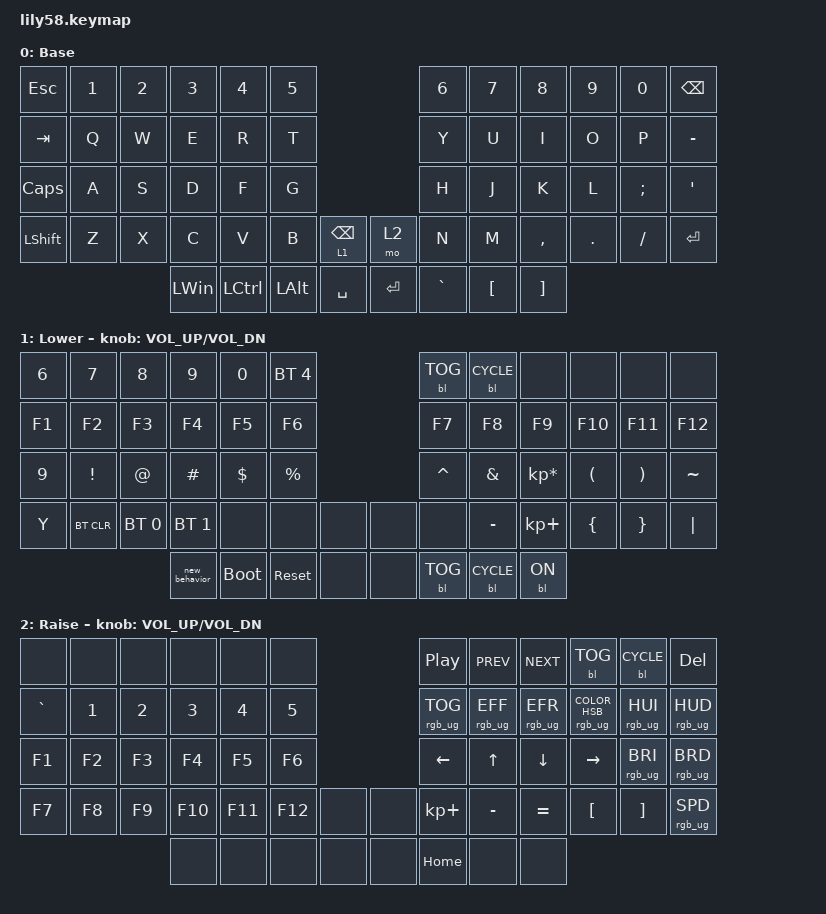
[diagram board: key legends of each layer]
/*
 * Copyright (c) 2020 The ZMK Contributors
 *
 * SPDX-License-Identifier: MIT
 */

#include <behaviors.dtsi>
#include <dt-bindings/zmk/backlight.h>
#include <dt-bindings/zmk/bt.h>
#include <dt-bindings/zmk/keys.h>
#include <dt-bindings/zmk/rgb.h>

/ {
    behaviors {
        new_behavior: new_behavior {
            compatible = "zmk,behavior-soft-off";
            label = "NEW_BEHAVIOR";
            #binding-cells = <0>;
            split-peripheral-off-on-press;
        };
    };

    keymap {
        compatible = "zmk,keymap";

        default_layer {
            // ------------------------------------------------------------------------------------------------------------
            // |  ESC  |  1  |  2  |  3   |  4   |  5   |                   |  6   |  7    |  8    |  9   |   0   |   `   |
            // |  TAB  |  Q  |  W  |  E   |  R   |  T   |                   |  Y   |  U    |  I    |  O   |   P   |   -   |
            // |  CTRL |  A  |  S  |  D   |  F   |  G   |                   |  H   |  J    |  K    |  L   |   ;   |   '   |
            // | SHIFT |  Z  |  X  |  C   |  V   |  B   |   "["  |  |  "]"  |  N   |  M    |  ,    |  .   |   /   | SHIFT |
            //                     | ALT  | GUI  | LOWER|  SPACE |  | ENTER | RAISE| BSPC  | GUI   |

            display-name = "Base";
            bindings = <
&kp ESC         &kp N1  &kp N2  &kp N3        &kp N4     &kp N5                                      &kp N6     &kp N7            &kp N8             &kp N9   &kp N0    &kp BACKSPACE
&kp TAB         &kp Q   &kp W   &kp E         &kp R      &kp T                                       &kp Y      &kp U             &kp I              &kp O    &kp P     &kp MINUS
&kp CLCK        &kp A   &kp S   &kp D         &kp F      &kp G                                       &kp H      &kp J             &kp K              &kp L    &kp SEMI  &kp APOS
&kp LEFT_SHIFT  &kp Z   &kp X   &kp C         &kp V      &kp B         &lt 1 BACKSPACE    &mo 2      &kp N      &kp M             &kp COMMA          &kp DOT  &kp FSLH  &kp ENTER
                                &kp LEFT_WIN  &kp LCTRL  &kp LEFT_ALT  &kp SPACE          &kp ENTER  &kp GRAVE  &kp LEFT_BRACKET  &kp RIGHT_BRACKET
            >;
        };

        lower_layer {
            // ------------------------------------------------------------------------------------------------------------
            // | BTCLR | BT1 | BT2 |  BT3 |  BT4 |  BT5 |                   |      |       |       |      |       |       |
            // |  F1   |  F2 |  F3 |  F4  |  F5  |  F6  |                   |  F7  |  F8   |  F9   |  F10 |  F11  |  F12  |
            // |   `   |  !  |  @  |  #   |  $   |  %   |                   |  ^   |  &    |  *    |  (   |   )   |   ~   |
            // |       |     |     |      |      |      |        |  |       |      |  _    |  +    |  {   |   }   |  "|"  |
            //                     |      |      |      |        |  |       |      |       |       |

            display-name = "Lower";
            bindings = <
&kp NUMBER_6  &kp N7      &kp N8        &kp N9         &kp N0       &bt BT_SEL 4                  &bl BL_TOG  &bl BL_CYCLE  &none            &none     &none     &none
&kp F1        &kp F2      &kp F3        &kp F4         &kp F5       &kp F6                        &kp F7      &kp F8        &kp F9           &kp F10   &kp F11   &kp F12
&kp N9        &kp EXCL    &kp AT        &kp HASH       &kp DOLLAR   &kp PRCNT                     &kp CARET   &kp AMPS      &kp KP_MULTIPLY  &kp LPAR  &kp RPAR  &kp TILDE
&kp Y         &bt BT_CLR  &bt BT_SEL 0  &bt BT_SEL 1   &none        &none         &none    &none  &none       &kp MINUS     &kp KP_PLUS      &kp LBRC  &kp RBRC  &kp PIPE
                                        &new_behavior  &bootloader  &sys_reset    &none    &none  &bl BL_TOG  &bl BL_CYCLE  &bl BL_ON
            >;

            sensor-bindings = <&inc_dec_kp C_VOL_UP C_VOL_DN>;
        };

        raise_layer {
            // ------------------------------------------------------------------------------------------------------------
            // |       |     |     |      |      |      |                   |      |       |       |      |       |       |
            // |   `   |  1  |  2  |  3   |  4   |  5   |                   |  6   |   7   |   8   |  9   |   0   |       |
            // |   F1  |  F2 |  F3 |  F4  |  F5  |  F6  |                   |      |   <-  |   v   |  ^   |  ->   |       |
            // |   F7  |  F8 |  F9 |  F10 |  F11 |  F12 |        |  |       |  +   |   -   |   =   |  [   |   ]   |   \   |
            //                     |      |      |      |        |  |       |      |       |       |

            display-name = "Raise";
            bindings = <
&none      &none   &none   &none    &none    &none                    &kp C_PLAY_PAUSE  &kp C_PREV       &kp C_NEXT       &bl BL_TOG                        &bl BL_CYCLE     &kp DELETE
&kp GRAVE  &kp N1  &kp N2  &kp N3   &kp N4   &kp N5                   &rgb_ug RGB_TOG   &rgb_ug RGB_EFF  &rgb_ug RGB_EFR  &rgb_ug RGB_COLOR_HSB(193,30,66)  &rgb_ug RGB_HUI  &rgb_ug RGB_HUD
&kp F1     &kp F2  &kp F3  &kp F4   &kp F5   &kp F6                   &kp LEFT_ARROW    &kp UP_ARROW     &kp DOWN_ARROW   &kp RIGHT_ARROW                   &rgb_ug RGB_BRI  &rgb_ug RGB_BRD
&kp F7     &kp F8  &kp F9  &kp F10  &kp F11  &kp F12  &none    &none  &kp KP_PLUS       &kp MINUS        &kp EQUAL        &kp LBKT                          &kp RBKT         &rgb_ug RGB_SPD
                           &none    &none    &none    &none    &none  &kp HOME          &none            &none
            >;

            sensor-bindings = <&inc_dec_kp C_VOL_UP C_VOL_DN>;
        };
    };
};
